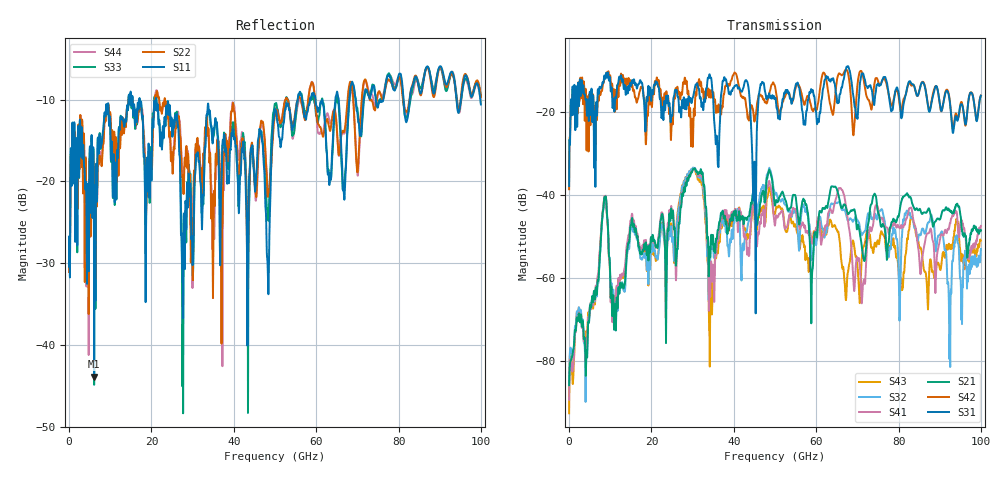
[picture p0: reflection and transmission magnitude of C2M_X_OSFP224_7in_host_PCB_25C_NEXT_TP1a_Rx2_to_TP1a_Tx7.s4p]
# GHz S RI R 45
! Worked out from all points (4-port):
!   4000 points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, 25 MHz to 100 GHz, reference 45 ohm
!   strongest paths, dB at 25 MHz, 25.02 GHz, 50.02 GHz, 75.03 GHz, 100 GHz:
!     S31: -37.8, -20.8, -16.7, -13.0, -16.0
!     S42: -38.6, -21.8, -13.7, -12.6, -15.9
!     S21: -85.9, -45.5, -42.5, -44.0, -48.5
!     S41: -89.4, -44.7, -47.3, -43.0, -47.4
!     S32: -85.3, -51.2, -39.8, -44.2, -53.0
!     S43: -92.7, -50.5, -44.5, -51.0, -51.0
!   lowest |S11| = -43.9 dB at 6.1 GHz (marker M1), VSWR 1.01, Z = 45.5 + j0.304 ohm
!   |S11| at or under -10 dB: start of sweep to 14.44 GHz; 21.18 GHz to 55.51 GHz (34.33 GHz wide, 89.5 % of centre); 59.85 GHz to 64.64 GHz (4.796 GHz wide, 7.71 % of centre) (the widest 3 of 14)
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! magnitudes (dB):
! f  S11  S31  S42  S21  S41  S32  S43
! 25 MHz  -30.4  -37.8  -38.6  -85.9  -89.4  -85.3  -92.7
! 6.1 GHz  -43.9  -30.9  -22.1  -63.2  -63.4  -63.6  -64.1
! 30.15 GHz  -28.4  -16.2  -23.8  -33.6  -33.6  -33.3  -33.5
! 34.35 GHz  -12.7  -11.7  -16.0  -53.4  -59.9  -53.7  -62.4
! 45 GHz  -19.4  -31.9  -22.2  -41.4  -44.0  -41.2  -44.2
! 46.88 GHz  -15.1  -12.7  -16.0  -39.5  -44.6  -38.1  -43.4
! 100 GHz  -10.6  -16.0  -15.9  -48.5  -47.4  -53.0  -51.0
